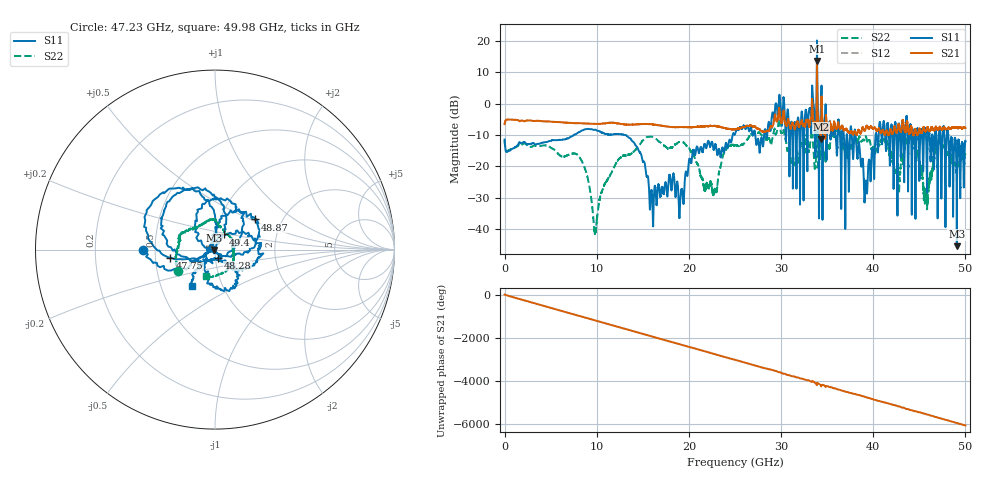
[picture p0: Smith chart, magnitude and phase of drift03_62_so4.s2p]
!Created with skrf (http://scikit-rf.org).
# Hz S RI R 50.0
!freq ReS11 ImS11 ReS21 ImS21 ReS12 ImS12 ReS22 ImS22
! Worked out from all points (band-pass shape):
!   10001 points, 300 kHz to 50 GHz, reference 50 ohm
!   highest |S21| = 13.61 dB at 33.9 GHz (marker M1); lowest = -11.4 dB at 34.32 GHz (marker M2)
!   |S21| within 3 dB of the highest: 33.89042 GHz to 33.90428 GHz (13.86 MHz wide, 0.0409 % of centre)
!   lowest |S11| = -45.4 dB at 49.07 GHz (marker M3), VSWR 1.01, Z = 49.5 - j0.26 ohm
!   |S11| at or under -10 dB: start of sweep to 7.49 GHz; 13.14 GHz to 24.74 GHz (11.6 GHz wide, 61.2 % of centre); 38.09 GHz to 40.26 GHz (2.164 GHz wide, 5.53 % of centre) (the widest 3 of 52)
!   |S22| runs from -41.5 to 6.1 dB; largest |S21 - S12| = 0.33
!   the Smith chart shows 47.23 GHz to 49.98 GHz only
!   S11 on the Smith chart (normalised r, x): 47.23 GHz: 0.43, -0.00; 47.75 GHz: 0.60, -0.06; 48.28 GHz: 1.03, -0.09; 48.87 GHz: 1.46, +0.53; 49.4 GHz: 1.08, +0.18; 49.98 GHz: 0.72, -0.31
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300000  -0.2364 -0.1267  0.4654 0.0831  0.464 0.0837  -0.2315 -0.1298
1.440291e9  0.21 0.0646  -0.548 -0.0293  -0.5481 -0.0292  0.2114 -0.00402
2.915283e9  -0.2121 -0.0879  0.534 0.0518  0.5344 0.0513  -0.2019 0.0403
8.33525e9  0.2886 -0.2336  0.1462 0.4659  0.1462 0.4659  -0.0725 -0.1016
9.840241e9  -0.365 0.1255  -0.1435 -0.4537  -0.1434 -0.4537  0.00887 0.0019
1.66702e10  0.0274 0.0434  -0.3782 0.2532  -0.378 0.2539  -0.1284 -0.2197
2.500015e10  -0.3257 -0.0143  -0.2549 -0.2967  -0.2543 -0.2982  -0.2129 0.0284
2.895013e10  -0.3211 0.4222  -0.2916 0.3246  -0.3032 0.2882  0.0628 0.221
3.006512e10  0.3987 0.265  0.4503 -0.1971  0.4534 -0.1831  0.1747 -0.297
3.171011e10  -0.0928 0.1885  -0.3606 0.3588  -0.3624 0.3567  0.0665 0.1599
3.33351e10  0.6617 -0.803  0.2662 -0.8507  0.2691 -0.834  -0.1886 -0.4335
3.38951e10  -1.876 -10.04  -4.756 0.5735  -4.486 0.7634  0.4209 1.971
3.432009e10  -0.778 -0.00133  -0.1794 0.2006  -0.2421 0.1803  0.1415 -0.076
4.167005e10  -0.2056 0.3015  0.3151 -0.00029  0.3151 0.0063  -0.1852 -0.0104
4.723002e10  -0.401 -0.00229  0.2924 0.3134  0.294 0.3095  -0.2085 -0.1187
4.774501e10  -0.2511 -0.0472  0.4022 -0.0931  0.4024 -0.0918  -0.1855 0.0918
4.828001e10  0.0168 -0.0446  0.0671 -0.3978  0.0696 -0.4001  -0.00336 0.1642
4.887001e10  0.2243 0.1682  -0.3728 -0.177  -0.3719 -0.1761  0.1034 0.048
4.907001e10  -0.00467 -0.00262  -0.4209 -0.0208  -0.4229 -0.0196  0.0981 0.0116
4.9395e10  0.0475 0.0842  -0.337 0.2422  -0.34 0.2416  0.1031 -0.0646
4.998e10  -0.1265 -0.2032  0.1228 0.3929  0.1226 0.3931  -0.05 -0.1492
5e10  -0.1203 -0.2223  0.1436 0.3846  0.1428 0.384  -0.0529 -0.1436
